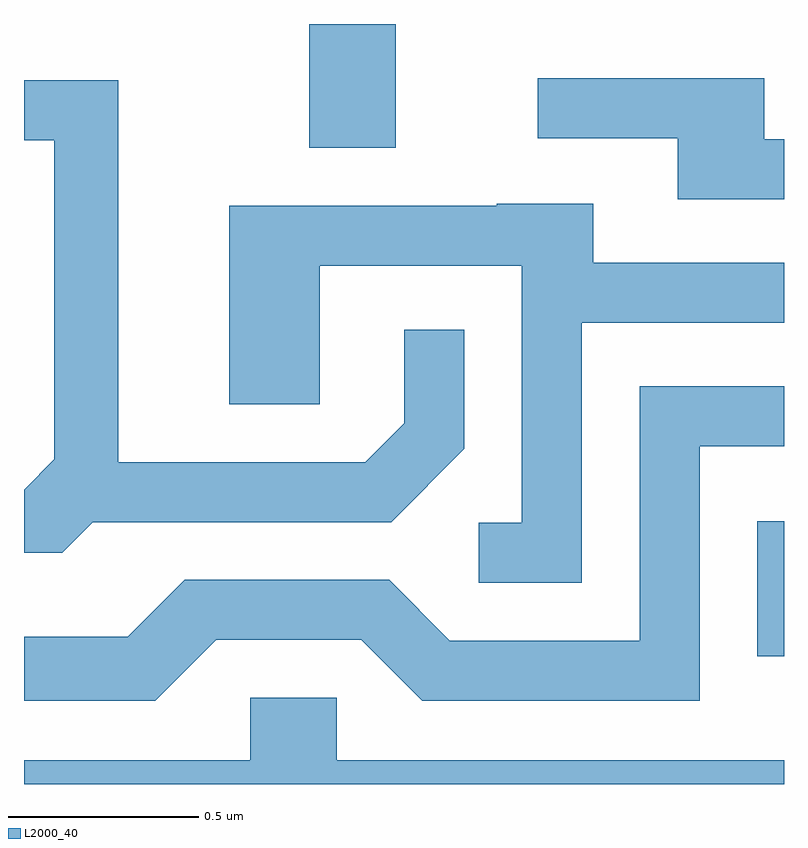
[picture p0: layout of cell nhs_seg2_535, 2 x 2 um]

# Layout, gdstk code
import gdstk
lib = gdstk.Library(unit=1e-6, precision=1e-09)
def R(c, l, rs):  # rectangles x0, y0, x1, y1
    for r in rs: c.add(gdstk.rectangle(r[:2], r[2:], *l))
def P(c, l, *ps):  # polygons
    for p in ps: c.add(gdstk.Polygon(p, *l))
L2000_40 = (2000, 40)

nhs_seg2_535 = lib.new_cell('nhs_seg2_535')
R(nhs_seg2_535, L2000_40, [(190.541,1102.138,190.611,1102.494), (189.361,1103.476,189.589,1103.802)])
P(nhs_seg2_535, L2000_40, [(190.611,1103.499),(190.559,1103.499),(190.559,1103.659),(189.963,1103.659),(189.963,1103.501),(190.331,1103.501),(190.331,1103.341),(190.611,1103.341)],
  [(188.792,1102.491),(189.577,1102.491),(189.769,1102.684),(189.769,1102.998),(189.611,1102.998),(189.611,1102.752),(189.509,1102.649),(188.859,1102.649),(188.859,1103.654),(188.611,1103.654),(188.611,1103.496),(188.691,1103.496),(188.691,1102.657),(188.611,1102.576),(188.611,1102.411),(188.712,1102.411)],
  [(190.079,1103.016),(190.611,1103.016),(190.611,1103.174),(190.109,1103.174),(190.109,1103.329),(189.855,1103.329),(189.855,1103.324),(189.151,1103.324),(189.151,1102.801),(189.389,1102.801),(189.389,1103.166),(189.921,1103.166),(189.921,1102.489),(189.808,1102.489),(189.808,1102.331),(190.079,1102.331)],
  [(189.117,1102.181),(189.499,1102.181),(189.659,1102.021),(190.389,1102.021),(190.389,1102.691),(190.611,1102.691),(190.611,1102.849),(190.231,1102.849),(190.231,1102.179),(189.732,1102.179),(189.572,1102.339),(189.034,1102.339),(188.884,1102.189),(188.611,1102.189),(188.611,1102.021),(188.957,1102.021)],
  [(190.611,1101.864),(189.434,1101.864),(189.434,1102.029),(189.206,1102.029),(189.206,1101.864),(188.611,1101.864),(188.611,1101.802),(190.611,1101.802)])

lib.write_gds('nhs_seg2_535.gds')
